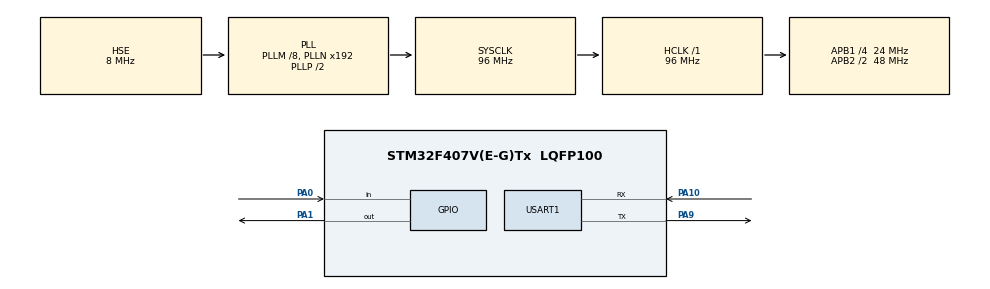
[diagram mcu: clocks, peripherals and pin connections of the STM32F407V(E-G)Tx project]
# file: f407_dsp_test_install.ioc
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ARM.CMSIS.5.6.0.CMSISJjCORE=true
ARM.CMSIS.5.6.0.CMSISJjDSP=Library
ARM.CMSIS.5.6.0.CMSISJjNNOoLib=true
Mcu.Family=STM32F4
Mcu.Name=STM32F407V(E-G)Tx
Mcu.Package=LQFP100
NVIC.PriorityGroup=NVIC_PRIORITYGROUP_4
PA0-WKUP.GPIO_PuPd=GPIO_PULLDOWN
PA0-WKUP.Signal=GPIO_Input
PA1.Signal=GPIO_Output
PA10.Mode=Asynchronous
PA10.Signal=USART1_RX
PA13.Mode=Serial_Wire
PA13.Signal=SYS_JTMS-SWDIO
PA14.Mode=Serial_Wire
PA14.Signal=SYS_JTCK-SWCLK
PA9.Mode=Asynchronous
PA9.Signal=USART1_TX
PH0-OSC_IN.Mode=HSE-External-Oscillator
PH0-OSC_IN.Signal=RCC_OSC_IN
PH1-OSC_OUT.Mode=HSE-External-Oscillator
PH1-OSC_OUT.Signal=RCC_OSC_OUT
ProjectManager.HeapSize=0x200
ProjectManager.StackSize=0x400
ProjectManager.TargetToolchain=STM32CubeIDE
RCC.48MHZClocksFreq_Value=48000000
RCC.AHBFreq_Value=96000000
RCC.APB1CLKDivider=RCC_HCLK_DIV4
RCC.APB1Freq_Value=24000000
RCC.APB1TimFreq_Value=48000000
RCC.APB2CLKDivider=RCC_HCLK_DIV2
RCC.APB2Freq_Value=48000000
RCC.APB2TimFreq_Value=96000000
RCC.CortexFreq_Value=96000000
RCC.HCLKFreq_Value=96000000
RCC.HSE_VALUE=8000000
RCC.HSI_VALUE=16000000
RCC.LSE_VALUE=32768
RCC.PLLM=8
RCC.PLLSourceVirtual=RCC_PLLSOURCE_HSE
RCC.SYSCLKFreq_VALUE=96000000
RCC.SYSCLKSource=RCC_SYSCLKSOURCE_PLLCLK
RCC.VCOOutputFreq_Value=192000000
USART1.VirtualMode=VM_ASYNC
VP_ARM.CMSIS_VS_CMSISJjCORE_5.3.0.Mode=CMSISJjCORE
VP_ARM.CMSIS_VS_CMSISJjDSP_1.7.0.Mode=CMSISJjDSP
VP_RNG_VS_RNG.Mode=RNG_Activate
board=custom

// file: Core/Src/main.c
/* USER CODE BEGIN Header */
// DevEBox STM32F407VGT6 dev board
// Testing CMSIS DSP package installation and RNG hardware random number generation
// Using fir example code from my CMSIS DSP install repository
// ~/STM32Cube/Repository/Packs/ARM/CMSIS/5.6.0/CMSIS/DSP/Examples/ARM/arm_fir_example
/* USER CODE END Header */

#include "main.h"

/* USER CODE BEGIN Includes */
#define ARM_MATH_CM4
#include "arm_math.h"

/* USER CODE END Includes */

RNG_HandleTypeDef hrng;

UART_HandleTypeDef huart1;

void SystemClock_Config(void);
static void MX_GPIO_Init(void);
static void MX_RNG_Init(void);
static void MX_USART1_UART_Init(void);

/* USER CODE BEGIN 0 */
void printMsg(char* format, ...) {
	char sz[100];
	va_list args;
	va_start(args, format);
	vsprintf(sz, format, args);
	HAL_UART_Transmit(&huart1, (uint8_t *)sz, strlen(sz), HAL_MAX_DELAY);
	va_end(args);
	}

extern int32_t fir_test(void);

/* USER CODE END 0 */

int main(void)
{

  /* MCU Configuration--------------------------------------------------------*/

  /* Reset of all peripherals, Initializes the Flash interface and the Systick. */
  HAL_Init();

  /* Configure the system clock */
  SystemClock_Config();

  /* Initialize all configured peripherals */
  MX_GPIO_Init();
  MX_RNG_Init();
  MX_USART1_UART_Init();
  /* USER CODE BEGIN 2 */

  printMsg("Demo RNG and CMSIS DSP functionality\r\n");

  // fir test from CMSIS/DSP/examples
  if (ARM_MATH_SUCCESS == fir_test()){
	  printMsg("FIR example test success\r\n");
  	  }
  else {
	  printMsg("FIR example test failed\r\n");
  	  }

  // test random number generation from RNG hardware
  uint32_t randVal = 0;

  /* USER CODE END 2 */

  /* Infinite loop */
  while (1)
  {

    /* USER CODE BEGIN 3 */
	if (HAL_OK != HAL_RNG_GenerateRandomNumber(&hrng, &randVal)) {
		Error_Handler();
		}
	printMsg("Random %u\r\n", randVal);
	HAL_Delay(500);
  }
  /* USER CODE END 3 */
}

void SystemClock_Config(void)
{
  RCC_OscInitTypeDef RCC_OscInitStruct = {0};
  RCC_ClkInitTypeDef RCC_ClkInitStruct = {0};

  /** Configure the main internal regulator output voltage
  */
  __HAL_RCC_PWR_CLK_ENABLE();
  __HAL_PWR_VOLTAGESCALING_CONFIG(PWR_REGULATOR_VOLTAGE_SCALE1);
  /** Initializes the CPU, AHB and APB busses clocks
  */
  RCC_OscInitStruct.OscillatorType = RCC_OSCILLATORTYPE_HSE;
  RCC_OscInitStruct.HSEState = RCC_HSE_ON;
  RCC_OscInitStruct.PLL.PLLState = RCC_PLL_ON;
  RCC_OscInitStruct.PLL.PLLSource = RCC_PLLSOURCE_HSE;
  RCC_OscInitStruct.PLL.PLLM = 8;
  RCC_OscInitStruct.PLL.PLLN = 192;
  RCC_OscInitStruct.PLL.PLLP = RCC_PLLP_DIV2;
  RCC_OscInitStruct.PLL.PLLQ = 4;
  if (HAL_RCC_OscConfig(&RCC_OscInitStruct) != HAL_OK)
  {
    Error_Handler();
  }
  /** Initializes the CPU, AHB and APB busses clocks
  */
  RCC_ClkInitStruct.ClockType = RCC_CLOCKTYPE_HCLK|RCC_CLOCKTYPE_SYSCLK
                              |RCC_CLOCKTYPE_PCLK1|RCC_CLOCKTYPE_PCLK2;
  RCC_ClkInitStruct.SYSCLKSource = RCC_SYSCLKSOURCE_PLLCLK;
  RCC_ClkInitStruct.AHBCLKDivider = RCC_SYSCLK_DIV1;
  RCC_ClkInitStruct.APB1CLKDivider = RCC_HCLK_DIV4;
  RCC_ClkInitStruct.APB2CLKDivider = RCC_HCLK_DIV2;

  if (HAL_RCC_ClockConfig(&RCC_ClkInitStruct, FLASH_LATENCY_3) != HAL_OK)
  {
    Error_Handler();
  }
}

static void MX_RNG_Init(void)
{

  hrng.Instance = RNG;
  if (HAL_RNG_Init(&hrng) != HAL_OK)
  {
    Error_Handler();
  }

}

static void MX_USART1_UART_Init(void)
{

  huart1.Instance = USART1;
  huart1.Init.BaudRate = 115200;
  huart1.Init.WordLength = UART_WORDLENGTH_8B;
  huart1.Init.StopBits = UART_STOPBITS_1;
  huart1.Init.Parity = UART_PARITY_NONE;
  huart1.Init.Mode = UART_MODE_TX_RX;
  huart1.Init.HwFlowCtl = UART_HWCONTROL_NONE;
  huart1.Init.OverSampling = UART_OVERSAMPLING_16;
  if (HAL_UART_Init(&huart1) != HAL_OK)
  {
    Error_Handler();
  }

}

static void MX_GPIO_Init(void)
{
  GPIO_InitTypeDef GPIO_InitStruct = {0};

  /* GPIO Ports Clock Enable */
  __HAL_RCC_GPIOH_CLK_ENABLE();
  __HAL_RCC_GPIOA_CLK_ENABLE();

  /*Configure GPIO pin Output Level */
  HAL_GPIO_WritePin(GPIOA, GPIO_PIN_1, GPIO_PIN_RESET);

  /*Configure GPIO pin : PA0 */
  GPIO_InitStruct.Pin = GPIO_PIN_0;
  GPIO_InitStruct.Mode = GPIO_MODE_INPUT;
  GPIO_InitStruct.Pull = GPIO_PULLDOWN;
  HAL_GPIO_Init(GPIOA, &GPIO_InitStruct);

  /*Configure GPIO pin : PA1 */
  GPIO_InitStruct.Pin = GPIO_PIN_1;
  GPIO_InitStruct.Mode = GPIO_MODE_OUTPUT_PP;
  GPIO_InitStruct.Pull = GPIO_NOPULL;
  GPIO_InitStruct.Speed = GPIO_SPEED_FREQ_LOW;
  HAL_GPIO_Init(GPIOA, &GPIO_InitStruct);

}

void Error_Handler(void)
{
  /* USER CODE BEGIN Error_Handler_Debug */
  /* User can add his own implementation to report the HAL error return state */
	int counter = 0;
	while (1) {
		HAL_GPIO_TogglePin(GPIOA, GPIO_PIN_1);
		while (counter < 0x3FFFF) {counter++;}
		counter = 0;
		}
  /* USER CODE END Error_Handler_Debug */
}

/************************ (C) COPYRIGHT STMicroelectronics *****END OF FILE****/
